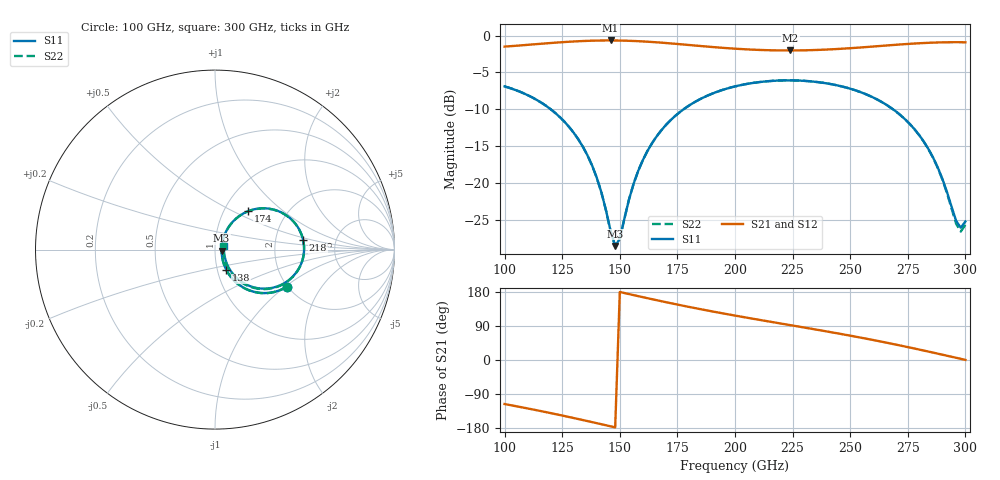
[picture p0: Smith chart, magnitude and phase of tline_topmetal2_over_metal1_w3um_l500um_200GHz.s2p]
#  GHZ S DB R 50
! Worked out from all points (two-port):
!   101 points, 100 GHz to 300 GHz, reference 50 ohm
!   highest |S21| = -0.66 dB at 146 GHz (marker M1); lowest = -2.0 dB at 224 GHz (marker M2)
!   |S21| within 3 dB of the highest: start of sweep to end of sweep
!   lowest |S11| = -28.6 dB at 148 GHz (marker M3), VSWR 1.08, Z = 53.8 - j0.554 ohm
!   |S11| at or under -10 dB: 120 GHz to 177.7 GHz (57.78 GHz wide, 38.8 % of centre); 268.5 GHz to end of sweep
!   |S22| runs from -28.6 to -6.1 dB; largest |S21 - S12| = 1e-13
!   S11 on the Smith chart (normalised r, x): 100 GHz: 1.99, -1.03; 138 GHz: 1.10, -0.26; 174 GHz: 1.30, +0.61; 218 GHz: 2.89, +0.40; 300 GHz: 1.10, +0.05
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100  -6.91 -27.1  -1.49 -116.3  -1.49 -116.3  -6.91 -27.2
120  -10.01 -47.8  -1.01 -140.1  -1.01 -140.1  -10.01 -47.9
134  -15.12 -59.9  -0.74 -158.5  -0.74 -158.5  -15.12 -60.0
138  -17.68 -60.8  -0.69 -164.0  -0.69 -164.0  -17.68 -61.0
142  -21.31 -57.1  -0.66 -169.5  -0.66 -169.5  -21.31 -57.3
146  -26.56 -36.2  -0.66 -175.0  -0.66 -175.0  -26.57 -36.4
148  -28.61 -8.0  -0.66 -177.8  -0.66 -177.8  -28.62 -8.1
150  -27.62 24.8  -0.67 179.5  -0.67 179.5  -27.63 24.7
158  -18.38 58.7  -0.76 168.5  -0.76 168.5  -18.38 58.6
168  -12.88 54.5  -0.96 155.2  -0.96 155.2  -12.88 54.3
174  -10.93 49.1  -1.11 147.5  -1.11 147.5  -10.93 48.9
200  -6.91 23.2  -1.77 117.2  -1.77 117.2  -6.91 23.0
218  -6.12 6.0  -2.01 98.2  -2.01 98.2  -6.12 5.8
224  -6.08 0.4  -2.02 92.0  -2.02 92.0  -6.08 0.1
234  -6.25 -9.1  -1.96 81.6  -1.96 81.6  -6.25 -9.4
252  -7.41 -26.4  -1.67 61.9  -1.67 61.9  -7.41 -26.8
268  -9.88 -42.1  -1.29 42.9  -1.29 42.9  -9.89 -42.7
282  -14.43 -53.0  -1.01 24.8  -1.01 24.8  -14.45 -53.9
290  -19.46 -50.6  -0.92 14.0  -0.92 14.0  -19.55 -52.2
296  -25.20 -22.1  -0.90 5.8  -0.90 5.8  -25.59 -23.8
298  -26.12 0.7  -0.90 3.1  -0.90 3.1  -26.64 0.2
300  -25.27 23.7  -0.91 0.3  -0.91 0.3  -25.71 24.7
